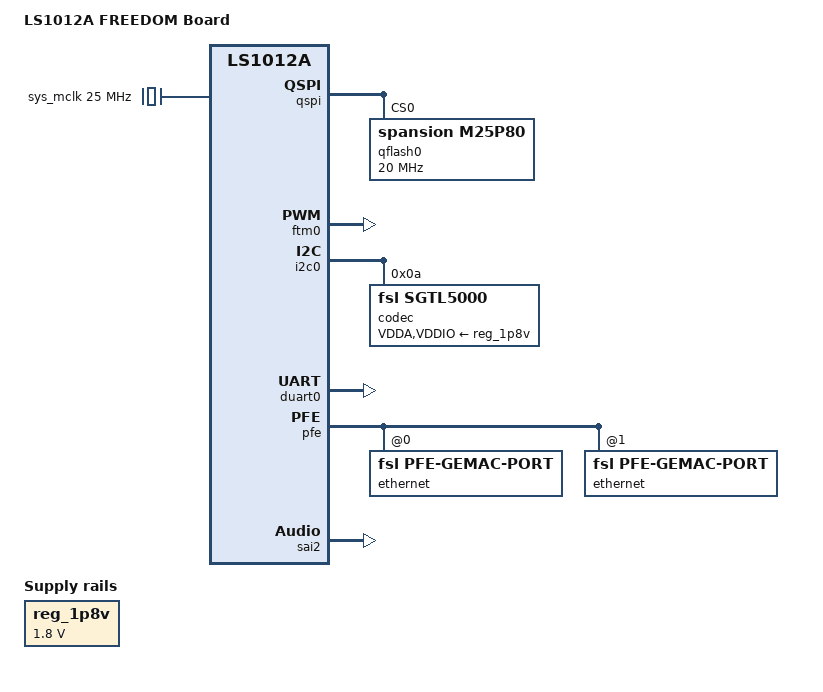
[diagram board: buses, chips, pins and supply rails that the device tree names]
/*
 * Device Tree Include file for Freescale Layerscape-1012A family SoC.
 *
 * Copyright 2016, Freescale Semiconductor Inc.

 * Redistribution and use in source and binary forms, with or without
 * modification, are permitted provided that the following conditions are met:
 *     * Redistributions of source code must retain the above copyright
 *       notice, this list of conditions and the following disclaimer.
 *     * Redistributions in binary form must reproduce the above copyright
 *       notice, this list of conditions and the following disclaimer in the
 *       documentation and/or other materials provided with the distribution.
 *     * Neither the name of Freescale Semiconductor nor the
 *       names of its contributors may be used to endorse or promote products
 *       derived from this software without specific prior written permission.
 *
 *
 * ALTERNATIVELY, this software may be distributed under the terms of the
 * GNU General Public License ("GPL") as published by the Free Software
 * Foundation, either version 2 of that License or (at your option) any
 * later version.
 *
 * THIS SOFTWARE IS PROVIDED BY Freescale Semiconductor ``AS IS'' AND ANY
 * EXPRESS OR IMPLIED WARRANTIES, INCLUDING, BUT NOT LIMITED TO, THE IMPLIED
 * WARRANTIES OF MERCHANTABILITY AND FITNESS FOR A PARTICULAR PURPOSE ARE
 * DISCLAIMED. IN NO EVENT SHALL Freescale Semiconductor BE LIABLE FOR ANY
 * DIRECT, INDIRECT, INCIDENTAL, SPECIAL, EXEMPLARY, OR CONSEQUENTIAL DAMAGES
 * (INCLUDING, BUT NOT LIMITED TO, PROCUREMENT OF SUBSTITUTE GOODS OR SERVICES;
 * LOSS OF USE, DATA, OR PROFITS; OR BUSINESS INTERRUPTION) HOWEVER CAUSED AND
 * ON ANY THEORY OF LIABILITY, WHETHER IN CONTRACT, STRICT LIABILITY, OR TORT
 * (INCLUDING NEGLIGENCE OR OTHERWISE) ARISING IN ANY WAY OUT OF THE USE OF THIS
 * SOFTWARE, EVEN IF ADVISED OF THE POSSIBILITY OF SUCH DAMAGE.
 */
/dts-v1/;

#include "fsl-ls1012a.dtsi"

/ {
	model = "LS1012A FREEDOM Board";
	compatible = "fsl,ls1012a-frdm", "fsl,ls1012a";

	aliases {
		crypto = &crypto;
	};

	sys_mclk: clock-mclk {
		compatible = "fixed-clock";
		#clock-cells = <0>;
		clock-frequency = <25000000>;
	};

	regulators {
		compatible = "simple-bus";
		#address-cells = <1>;
		#size-cells = <0>;

		reg_1p8v: regulator@0 {
			compatible = "regulator-fixed";
			reg = <0>;
			regulator-name = "1P8V";
			regulator-min-microvolt = <1800000>;
			regulator-max-microvolt = <1800000>;
			regulator-always-on;
		};
	};

	sound {
		compatible = "simple-audio-card";
		simple-audio-card,format = "i2s";
		simple-audio-card,widgets =
			"Microphone", "Microphone Jack",
			"Headphone", "Headphone Jack",
			"Speaker", "Speaker Ext",
			"Line", "Line In Jack";
		simple-audio-card,routing =
			"MIC_IN", "Microphone Jack",
			"Microphone Jack", "Mic Bias",
			"LINE_IN", "Line In Jack",
			"Headphone Jack", "HP_OUT",
			"Speaker Ext", "LINE_OUT";

		simple-audio-card,cpu {
			sound-dai = <&sai2>;
			frame-master;
			bitclock-master;
		};

		simple-audio-card,codec {
			sound-dai = <&codec>;
			frame-master;
			bitclock-master;
			system-clock-frequency = <25000000>;
		};
	};
};

&qspi {
	num-cs = <2>;
	bus-num = <0>;
	status = "okay";
	fsl,ddr-sampling-point = <4>;

	qflash0: s25fs512s@0 {
		compatible = "spansion,m25p80";
		#address-cells = <1>;
		#size-cells = <1>;
		spi-max-frequency = <20000000>;
		m25p,fast-read;
		reg = <0>;
	};
};
&ftm0 {
	status = "okay";
};

&i2c0 {
	status = "okay";

	codec: sgtl5000@a {
		#sound-dai-cells = <0>;
		compatible = "fsl,sgtl5000";
		reg = <0xa>;
		VDDA-supply = <&reg_1p8v>;
		VDDIO-supply = <&reg_1p8v>;
		clocks = <&sys_mclk 1>;
	};
};

&duart0 {
	status = "okay";
};
&pfe {
	status = "okay";
	ethernet@0 {
		compatible = "fsl,pfe-gemac-port";
		#address-cells = <1>;
		#size-cells = <0>;
		reg = <	0x0 >;	/* GEM_ID */
		fsl,gemac-bus-id = <0x0>;	/* BUS_ID */
		fsl,gemac-phy-id = <0x2>;	/* PHY_ID */
		fsl,mdio-mux-val = <0x0>;
		local-mac-address = [ 00 1A 2B 3C 4D 5E ];
		phy-mode = "sgmii";
		fsl,pfe-gemac-if-name = "eth0";
		fsl,pfe-phy-if-flags = <0x0>;
		fsl,pfe-gemac-mode = <0x1B00>; /* GEMAC_SW_CONF | GEMAC_SW_FULL_DUPLEX | GEMAC_SW_SPEED_1G */

		mdio@0 {
			reg = <0x1>; /* enabled/disabled */
			fsl,mdio-phy-mask = <0xFFFFFFF9>;
		};
	};
	ethernet@1 {
		compatible = "fsl,pfe-gemac-port";
		#address-cells = <1>;
		#size-cells = <0>;
		reg = <	0x1 >;	/* GEM_ID */
		fsl,gemac-bus-id = < 0x1 >;	/* BUS_ID */
		fsl,gemac-phy-id = < 0x1 >;	/* PHY_ID */
		fsl,mdio-mux-val = <0x0>;
		local-mac-address = [ 00 AA BB CC DD EE ];
		phy-mode = "sgmii";
		fsl,pfe-gemac-if-name = "eth1";
		fsl,pfe-phy-if-flags = <0x0>;
		fsl,pfe-gemac-mode = <0x1B00>; /* GEMAC_SW_CONF | GEMAC_SW_FULL_DUPLEX | GEMAC_SW_SPEED_1G */
		mdio@0 {
			reg = <0x0>; /* enabled/disabled */
			fsl,mdio-phy-mask = <0xFFFFFFF9>;
		};

	};

};


&esdhc0 {
	status = "disabled";
};

&esdhc1 {
	status = "disabled";
};

&sai2 {
	status = "okay";
};
